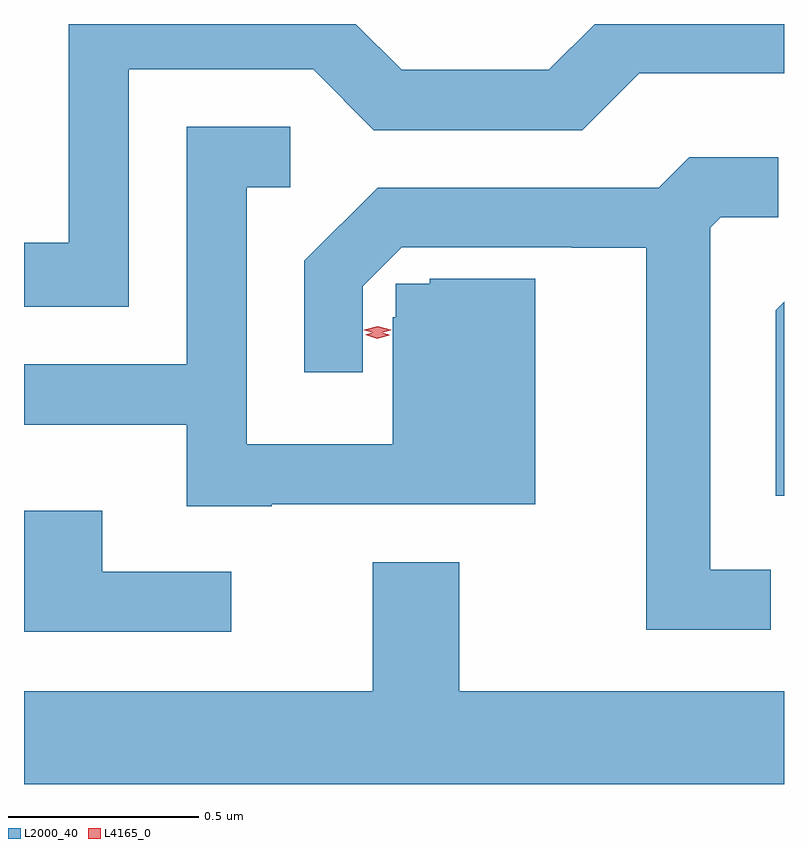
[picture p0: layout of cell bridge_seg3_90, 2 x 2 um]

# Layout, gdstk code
import gdstk
lib = gdstk.Library(unit=1e-6, precision=1e-09)
def P(c, l, *ps):  # polygons
    for p in ps: c.add(gdstk.Polygon(p, *l))
L2000_40 = (2000, 40)
L4165_0 = (4165, 0)

bridge_seg3_90 = lib.new_cell('bridge_seg3_90')
P(bridge_seg3_90, L2000_40, [(1126.379,1181.201),(1126.864,1181.201),(1127.024,1181.041),(1127.572,1181.041),(1127.722,1181.191),(1128.103,1181.191),(1128.103,1181.32),(1127.605,1181.32),(1127.484,1181.199),(1127.097,1181.199),(1126.976,1181.32),(1126.221,1181.32),(1126.221,1180.744),(1126.103,1180.744),(1126.103,1180.576),(1126.379,1180.576)],
  [(1126.755,1180.056),(1127.449,1180.056),(1127.449,1180.649),(1127.171,1180.649),(1127.171,1180.636),(1127.081,1180.636),(1127.081,1180.548),(1127.074,1180.548),(1127.074,1180.214),(1126.689,1180.214),(1126.689,1180.891),(1126.803,1180.891),(1126.803,1181.049),(1126.531,1181.049),(1126.531,1180.424),(1126.103,1180.424),(1126.103,1180.266),(1126.531,1180.266),(1126.531,1180.051),(1126.755,1180.051)],
  [(1128.068,1179.884),(1127.909,1179.884),(1127.909,1180.784),(1127.937,1180.811),(1128.088,1180.811),(1128.088,1180.969),(1127.854,1180.969),(1127.774,1180.889),(1127.034,1180.889),(1126.841,1180.697),(1126.841,1180.403),(1126.995,1180.403),(1126.995,1180.63),(1127.097,1180.732),(1127.545,1180.732),(1127.545,1180.731),(1127.741,1180.731),(1127.741,1179.726),(1128.068,1179.726)],
  [(1128.103,1180.589),(1128.081,1180.567),(1128.081,1180.078),(1128.103,1180.078)],
  [(1126.648,1179.879),(1126.309,1179.879),(1126.309,1180.039),(1126.103,1180.039),(1126.103,1179.721),(1126.648,1179.721)],
  [(1128.103,1179.564),(1127.249,1179.564),(1127.249,1179.904),(1127.021,1179.904),(1127.021,1179.564),(1126.103,1179.564),(1126.103,1179.32),(1128.103,1179.32)])
P(bridge_seg3_90, L4165_0, [(1127.032,1180.492),(1127.001,1180.502),(1127,1180.502),(1127.001,1180.502),(1127.032,1180.512),(1127.064,1180.502),(1127.064,1180.502),(1127.064,1180.501)],
  [(1127.034,1180.505),(1126.999,1180.514),(1126.998,1180.515),(1126.999,1180.515),(1127.034,1180.525),(1127.068,1180.515),(1127.069,1180.515),(1127.068,1180.514)])

lib.write_gds('bridge_seg3_90.gds')
